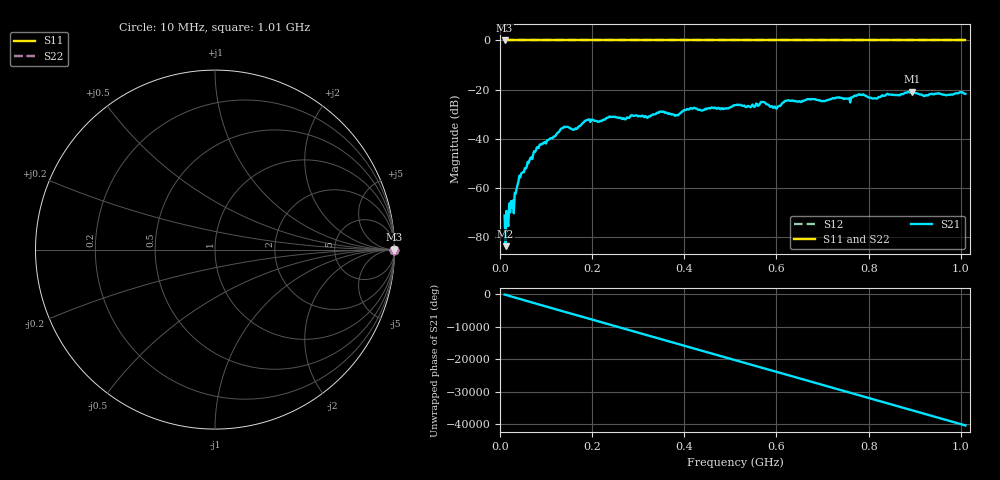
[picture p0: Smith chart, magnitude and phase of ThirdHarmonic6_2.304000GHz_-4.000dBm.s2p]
! 8/17/2025 3:08:54 AM
! C:\ANRITSUVNA\TEMP\TEMP.S2P
! CHANNEL.1
! TR.MEASUREMENT
! RAW.DATA
! RF.CORRECTION.OFF
! AVERAGING.OFF
! IF.BANDWIDTH: 5KHZ
! SWEEPTYPE:  FREQ.SWEEP(Linear)
! Reference Plane Port Info
! PORT:  PORT1  PORT2
! DISTANCE:  0  m  0  m
! TIME:  0  s  0  s
! PHASE.OFFSET:  0  deg.  0  deg.
! LOSS:  0  dB  0  dB
! REF.LOSS:  0  dB  0  dB
! REF.FREQ:  0  Hz  0  Hz
! Power Info
! POWER:  -20  dBm  -20  dBm
! EFF.POWER:  -20  dBm  -20  dBm
! SOURCE.ATTEN:  0  dB  0  dB
! TEST.ATTEN:  0  dB  0  dB
# GHZ S RI R 50.0
! FREQ.GHZ  S11RE  S11IM  S21RE  S21IM  S12RE  S12IM  S22RE  S22IM
!; PortSelection: Port_12
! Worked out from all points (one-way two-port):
!   501 points, 10 MHz to 1.01 GHz, reference 50 ohm
!   highest |S21| = -20.83 dB at 894 MHz (marker M1); lowest = -83.6 dB at 12 MHz (marker M2)
!   lowest |S11| = 0.0 dB at 10 MHz (marker M3)
!   |S11| at or under -10 dB: nowhere
!   |S22| runs from 0.0 to 0.0 dB; largest |S21 - S12| = 1.1
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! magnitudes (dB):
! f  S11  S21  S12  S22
! 10 MHz  0.0  -71.1  0.0  0.0
! 12 MHz  0.0  -83.6  0.0  0.0
! 14 MHz  0.0  -69.2  0.0  0.0
! 24 MHz  0.0  -65.3  0.0  0.0
! 30 MHz  0.0  -70.2  0.0  0.0
! 44 MHz  0.0  -55.6  0.0  0.0
! 78 MHz  0.0  -44.7  0.0  0.0
! 136 MHz  0.0  -35.7  0.0  0.0
! 162 MHz  0.0  -36.1  0.0  0.0
! 178 MHz  0.0  -33.8  0.0  0.0
! 190 MHz  0.0  -32.2  0.0  0.0
! 344 MHz  0.0  -29.4  0.0  0.0
! 384 MHz  0.0  -30.4  0.0  0.0
! 416 MHz  0.0  -27.7  0.0  0.0
! 510 MHz  0.0  -26.3  0.0  0.0
! 570 MHz  0.0  -25.0  0.0  0.0
! 598 MHz  0.0  -27.2  0.0  0.0
! 622 MHz  0.0  -24.4  0.0  0.0
! 678 MHz  0.0  -23.8  0.0  0.0
! 844 MHz  0.0  -22.0  0.0  0.0
! 894 MHz  0.0  -20.8  0.0  0.0
! 1.01 GHz  0.0  -21.7  0.0  0.0
